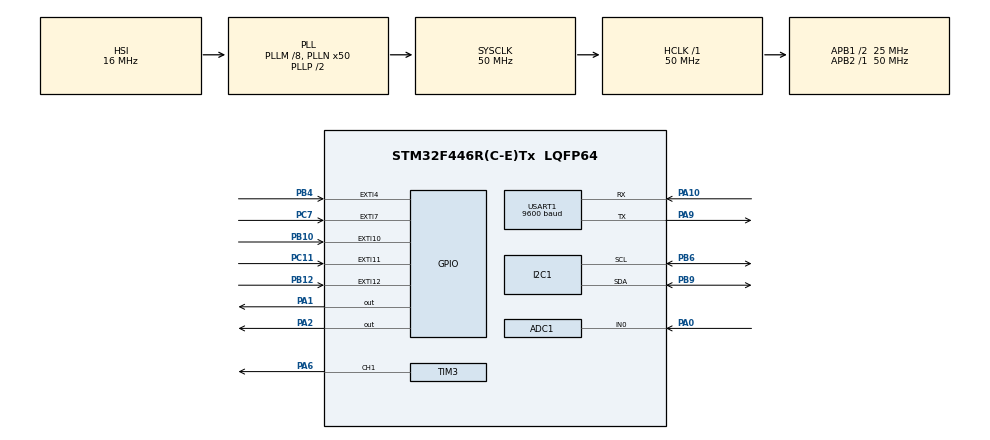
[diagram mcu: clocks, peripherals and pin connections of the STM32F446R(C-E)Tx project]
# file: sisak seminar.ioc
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ADC1.Channel-0\#ChannelRegularConversion=ADC_CHANNEL_0
ADC1.NbrOfConversionFlag=1
ADC1.Rank-0\#ChannelRegularConversion=1
ADC1.SamplingTime-0\#ChannelRegularConversion=ADC_SAMPLETIME_3CYCLES
ADC1.master=1
Mcu.Family=STM32F4
Mcu.Name=STM32F446R(C-E)Tx
Mcu.Package=LQFP64
NVIC.EXTI15_10_IRQn=true\:3\:0\:true\:false\:true\:true\:true\:true
NVIC.EXTI4_IRQn=true\:3\:0\:true\:false\:true\:true\:true\:true
NVIC.EXTI9_5_IRQn=true\:3\:0\:true\:false\:true\:true\:true\:true
NVIC.PriorityGroup=NVIC_PRIORITYGROUP_4
NVIC.TIM1_UP_TIM10_IRQn=true\:3\:0\:true\:false\:true\:true\:true\:true
PA0-WKUP.Signal=ADCx_IN0
PA1.Signal=GPIO_Output
PA10.Mode=Asynchronous
PA10.Signal=USART1_RX
PA13.Mode=Serial_Wire
PA13.Signal=SYS_JTMS-SWDIO
PA14.Mode=Serial_Wire
PA14.Signal=SYS_JTCK-SWCLK
PA2.Signal=GPIO_Output
PA6.Signal=S_TIM3_CH1
PA9.Mode=Asynchronous
PA9.Signal=USART1_TX
PB10.GPIO_ModeDefaultEXTI=GPIO_MODE_IT_FALLING
PB10.GPIO_PuPd=GPIO_PULLUP
PB10.Signal=GPXTI10
PB12.GPIO_ModeDefaultEXTI=GPIO_MODE_IT_FALLING
PB12.GPIO_PuPd=GPIO_PULLUP
PB12.Signal=GPXTI12
PB4.GPIO_ModeDefaultEXTI=GPIO_MODE_IT_FALLING
PB4.GPIO_PuPd=GPIO_PULLUP
PB4.Signal=GPXTI4
PB6.Mode=I2C
PB6.Signal=I2C1_SCL
PB9.Mode=I2C
PB9.Signal=I2C1_SDA
PC11.GPIO_ModeDefaultEXTI=GPIO_MODE_IT_FALLING
PC11.GPIO_PuPd=GPIO_PULLUP
PC11.Signal=GPXTI11
PC7.GPIO_ModeDefaultEXTI=GPIO_MODE_IT_FALLING
PC7.GPIO_PuPd=GPIO_PULLUP
PC7.Signal=GPXTI7
ProjectManager.HeapSize=0x200
ProjectManager.StackSize=0x400
ProjectManager.TargetToolchain=STM32CubeIDE
RCC.AHBFreq_Value=50000000
RCC.APB1CLKDivider=RCC_HCLK_DIV2
RCC.APB1Freq_Value=25000000
RCC.APB1TimFreq_Value=50000000
RCC.APB2Freq_Value=50000000
RCC.APB2TimFreq_Value=50000000
RCC.CortexFreq_Value=50000000
RCC.HCLKFreq_Value=50000000
RCC.PLLM=8
RCC.PLLN=50
RCC.SYSCLKFreq_VALUE=50000000
RCC.SYSCLKSource=RCC_SYSCLKSOURCE_PLLCLK
RCC.USBFreq_Value=50000000
RCC.VCOOutputFreq_Value=100000000
SH.ADCx_IN0.0=ADC1_IN0,IN0
SH.S_TIM3_CH1.0=TIM3_CH1,PWM Generation1 CH1
TIM10.Period=9
TIM10.Prescaler=15999
TIM3.Channel-PWM\ Generation1\ CH1=TIM_CHANNEL_1
TIM3.Period=999
TIM3.Prescaler=490
TIM6.Prescaler=49
USART1.BaudRate=9600
USART1.VirtualMode=VM_ASYNC
VP_TIM10_VS_ClockSourceINT.Mode=Enable_Timer
VP_TIM6_VS_ClockSourceINT.Mode=Enable_Timer
board=custom

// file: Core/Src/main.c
/* USER CODE BEGIN Header */
/**
  ******************************************************************************
  * @file           : main.c
  * @brief          : Main program body
  ******************************************************************************
  * @attention
  *
  * Copyright (c) 2025 STMicroelectronics.
  * All rights reserved.
  *
  * This software is licensed under terms that can be found in the LICENSE file
  * in the root directory of this software component.
  * If no LICENSE file comes with this software, it is provided AS-IS.
  *
  ******************************************************************************
  */
/* USER CODE END Header */
#include "main.h"
#include "adc.h"
#include "i2c.h"
#include "tim.h"
#include "usart.h"
#include "gpio.h"

/* USER CODE BEGIN Includes */
#include <stdio.h>
#include "stdio.h"

/* USER CODE END Includes */

/* USER CODE BEGIN PV */
static uint16_t global_gpio_pin = 0;
static uint16_t clear = 0;

/* USER CODE END PV */

void SystemClock_Config(void);

/* USER CODE BEGIN 0 */
uint16_t StartStop = 1;
uint16_t brzina = 0;

void delay (uint32_t us)   //Mikrosekunde
{
    __HAL_TIM_SET_COUNTER(&htim6,0);
    while ((__HAL_TIM_GET_COUNTER(&htim6))<us);
}

/*************************** LCD ***************************/
#define SLAVE_ADDRESS_LCD 0x4E

void lcd_send_cmd(char cmd)
{
    char upper_bits, lower_bits;
    uint8_t data[4];

    upper_bits = cmd & 0xF0;         // Get the upper 4 bits
    lower_bits = (cmd << 4) & 0xF0; // Shift the lower 4 bits to the upper position

    data[0] = upper_bits | 0x0C;    // Set EN=1 and RS=0
    data[1] = upper_bits | 0x08;    // Set EN=0 and RS=0
    data[2] = lower_bits | 0x0C;    // Set EN=1 and RS=0
    data[3] = lower_bits | 0x08;    // Set EN=0 and RS=0

    HAL_I2C_Master_Transmit(&hi2c1, SLAVE_ADDRESS_LCD, data, 4, 100); // Send data via I2C
}

void lcd_send_data(char data)
{
    char upper_bits, lower_bits;
    uint8_t values[4];

    upper_bits = data & 0xF0;         // Get the upper 4 bits
    lower_bits = (data << 4) & 0xF0; // Shift the lower 4 bits to the upper position

    values[0] = upper_bits | 0x0D;   // Set EN=1 and RS=1
    values[1] = upper_bits | 0x09;   // Set EN=0 and RS=1
    values[2] = lower_bits | 0x0D;   // Set EN=1 and RS=1
    values[3] = lower_bits | 0x09;   // Set EN=0 and RS=1

    HAL_I2C_Master_Transmit(&hi2c1, SLAVE_ADDRESS_LCD, values, 4, 100); // Send data via I2C
}

void lcd_clear (void)
{
	lcd_send_cmd (0x80);		// set cursor to the first position in the first line
	for (int i=0; i<70; i++)
	{
		lcd_send_data (' ');
	}
}

void lcd_put_cur(int row, int col)
{
    switch (row)
    {
        case 0:
            col |= 0x80;		// set cursor to the first position in the first line and move it for col spaces
            break;
        case 1:
            col |= 0xC0;		// set cursor to the first position in the second line and move it for col spaces
            break;
    }

    lcd_send_cmd (col);
}

void lcd_init (void)
{
	// 4 bit initialisation
	HAL_Delay(50);  // wait for >40ms
	lcd_send_cmd (0x30);
	HAL_Delay(5);  // wait for >4.1ms
	lcd_send_cmd (0x30);
	HAL_Delay(1);  // wait for >100us
	lcd_send_cmd (0x30);
	HAL_Delay(10);
	lcd_send_cmd (0x20);  // 4bit mode
	HAL_Delay(10);

  // dislay initialisation
	lcd_send_cmd (0x28); // Function set --> DL=0 (4 bit mode), N = 1 (2 line display) F = 0 (5x8 characters)
	HAL_Delay(1);
	lcd_send_cmd (0x08); //Display on/off control --> D=0,C=0, B=0  ---> display off
	HAL_Delay(1);
	lcd_send_cmd (0x01);  // clear display
	HAL_Delay(1);
	HAL_Delay(1);
	lcd_send_cmd (0x06); //Entry mode set --> I/D = 1 (increment cursor) & S = 0 (no shift)
	HAL_Delay(1);
	lcd_send_cmd (0x0C); //Display on/off control --> D = 1, C and B = 0. (Cursor and blink, last two bits)
}

void lcd_send_string (char *str)
{
	while (*str) lcd_send_data (*str++);
}

/* USER CODE END 0 */

int main(void)
{

  /* MCU Configuration--------------------------------------------------------*/

  /* Reset of all peripherals, Initializes the Flash interface and the Systick. */
  HAL_Init();

  /* Configure the system clock */
  SystemClock_Config();

  /* Initialize all configured peripherals */
  MX_GPIO_Init();
  MX_ADC1_Init();
  MX_I2C1_Init();
  MX_TIM6_Init();
  MX_USART1_UART_Init();
  MX_TIM10_Init();
  MX_TIM3_Init();
  /* USER CODE BEGIN 2 */
  HAL_TIM_Base_Start(&htim6);

  lcd_init();
  lcd_send_string("INITIALISING");
  HAL_Delay(2000);
  lcd_clear();

  /* USER CODE END 2 */

  /* Infinite loop */
  /* USER CODE BEGIN WHILE */
  uint16_t rawValue;                // Varijabla za pohranu sirove ADC vrijednosti (0–4095)
  uint8_t  Speed;                   // Varijabla za brzinu izraženu u postocima (0–100)

  while (1)                         // Beskonačna petlja – glavni program se izvršava ovdje
  {
      if(StartStop % 2 != 0)        // Ako je StartStop neparan broj (motor uključen)
      {
          clear = 1;                // Postavi zastavicu za kasnije čišćenje LCD-a

          char str[20] = {0};       // Inicijalizacija stringa za prikaz na LCD-u

          switch(brzina)            // Provjera odabrane brzine
          {
              case 0:
                  HAL_TIM_PWM_Start(&htim3, TIM_CHANNEL_1);          // Pokreni PWM na TIM3, kanal 1
                  __HAL_TIM_SET_COMPARE(&htim3, TIM_CHANNEL_1, 0);   // Postavi PWM ispunu na 0%
                  lcd_put_cur(0,0);                                   // Postavi kursor u prvi red LCD-a
                  sprintf(str, "Speed set 0 ");                       // Formatiraj string
                  lcd_send_string(str);                               // Prikaz stringa na LCD
                  lcd_send_data('%');                                 // Dodaj znak za postotak
                  lcd_put_cur(1,0);                                   // Prijeđi u drugi red
                  break;

              case 25:
                  HAL_TIM_PWM_Start(&htim3, TIM_CHANNEL_1);          // Pokreni PWM
                  __HAL_TIM_SET_COMPARE(&htim3, TIM_CHANNEL_1, 250); // Postavi PWM ispunu na 25%
                  lcd_put_cur(0,0);
                  sprintf(str, "Speed set 25 ");
                  lcd_send_string(str);
                  lcd_send_data('%');
                  lcd_put_cur(1,0);
                  break;

              case 50:
                  HAL_TIM_PWM_Start(&htim3, TIM_CHANNEL_1);          // Pokreni PWM
                  __HAL_TIM_SET_COMPARE(&htim3, TIM_CHANNEL_1, 500); // Postavi PWM ispunu na 50%
                  lcd_put_cur(0,0);
                  sprintf(str, "Speed set 50 ");
                  lcd_send_string(str);
                  lcd_send_data('%');
                  lcd_put_cur(1,0);
                  break;

              case 100:
                  HAL_TIM_PWM_Start(&htim3, TIM_CHANNEL_1);          // Pokreni PWM
                  __HAL_TIM_SET_COMPARE(&htim3, TIM_CHANNEL_1, 1000);// Postavi PWM ispunu na 100%
                  lcd_put_cur(0,0);
                  sprintf(str, "Speed set 100 ");
                  lcd_send_string(str);
                  lcd_send_data('%');
                  lcd_put_cur(1,0);
                  break;
          }
      }
      else
      {
          if(clear == 1)            // LCD čistiš samo jednom pri promjeni načina rada
          {
              char str[20] = {0};   // Privremeni string za brisanje LCD-a
              lcd_put_cur(0,0);     // Prvi red
              sprintf(str, "                ");  // 16 praznih znakova
              lcd_send_string(str);             // Briši prvi red
              lcd_put_cur(1,0);     // Drugi red
              sprintf(str, "                ");  // Isto za drugi red
              lcd_send_string(str);             // Briši drugi red
              clear = 0;            // Resetiraj zastavicu da se ne briše opet
          }

          brzina = 0;               // Postavi brzinu na 0 – ne koristi se više unaprijed definirana brzina

          char str[20] = {0};       // Buffer za prikaz dinamičke brzine
          lcd_put_cur(0,0);         // Prvi red

          HAL_ADC_Start(&hadc1);                                 // Pokreni ADC konverziju
          HAL_ADC_PollForConversion(&hadc1, HAL_MAX_DELAY);      // Pričekaj dok se ne završi konverzija
          rawValue = HAL_ADC_GetValue(&hadc1);                   // Učitaj sirovu ADC vrijednost
          Speed = (rawValue * 100) / 4095;                       // Pretvori u postotke (0–100%)

          lcd_put_cur(0,0);          // Prvi red
          sprintf(str, "Speed: %d ", Speed); // Formatiraj prikaz brzine
          lcd_send_string(str);      // Pošalji string na LCD
          lcd_send_data('%');        // Dodaj znak za postotak

          HAL_TIM_PWM_Start(&htim3, TIM_CHANNEL_1);              // Pokreni PWM izlaz
          __HAL_TIM_SET_COMPARE(&htim3, TIM_CHANNEL_1, Speed*10);// Postavi PWM proporcionalno brzini
      }
    /* USER CODE END WHILE */

  }
}

void SystemClock_Config(void)
{
  RCC_OscInitTypeDef RCC_OscInitStruct = {0};
  RCC_ClkInitTypeDef RCC_ClkInitStruct = {0};

  /** Configure the main internal regulator output voltage
  */
  __HAL_RCC_PWR_CLK_ENABLE();
  __HAL_PWR_VOLTAGESCALING_CONFIG(PWR_REGULATOR_VOLTAGE_SCALE3);

  /** Initializes the RCC Oscillators according to the specified parameters
  * in the RCC_OscInitTypeDef structure.
  */
  RCC_OscInitStruct.OscillatorType = RCC_OSCILLATORTYPE_HSI;
  RCC_OscInitStruct.HSIState = RCC_HSI_ON;
  RCC_OscInitStruct.HSICalibrationValue = RCC_HSICALIBRATION_DEFAULT;
  RCC_OscInitStruct.PLL.PLLState = RCC_PLL_ON;
  RCC_OscInitStruct.PLL.PLLSource = RCC_PLLSOURCE_HSI;
  RCC_OscInitStruct.PLL.PLLM = 8;
  RCC_OscInitStruct.PLL.PLLN = 50;
  RCC_OscInitStruct.PLL.PLLP = RCC_PLLP_DIV2;
  RCC_OscInitStruct.PLL.PLLQ = 2;
  RCC_OscInitStruct.PLL.PLLR = 2;
  if (HAL_RCC_OscConfig(&RCC_OscInitStruct) != HAL_OK)
  {
    Error_Handler();
  }

  /** Initializes the CPU, AHB and APB buses clocks
  */
  RCC_ClkInitStruct.ClockType = RCC_CLOCKTYPE_HCLK|RCC_CLOCKTYPE_SYSCLK
                              |RCC_CLOCKTYPE_PCLK1|RCC_CLOCKTYPE_PCLK2;
  RCC_ClkInitStruct.SYSCLKSource = RCC_SYSCLKSOURCE_PLLCLK;
  RCC_ClkInitStruct.AHBCLKDivider = RCC_SYSCLK_DIV1;
  RCC_ClkInitStruct.APB1CLKDivider = RCC_HCLK_DIV2;
  RCC_ClkInitStruct.APB2CLKDivider = RCC_HCLK_DIV1;

  if (HAL_RCC_ClockConfig(&RCC_ClkInitStruct, FLASH_LATENCY_1) != HAL_OK)
  {
    Error_Handler();
  }
}

/* USER CODE BEGIN 4 */
void HAL_GPIO_EXTI_Callback(uint16_t GPIO_Pin) {
    global_gpio_pin = GPIO_Pin;  // Pohranjujemo broj pina koji je izazvao prekid

    if(global_gpio_pin == GPIO_PIN_11) {  // Ako je prekid generiran na pinu 11
        __HAL_TIM_CLEAR_IT(&htim10, TIM_IT_UPDATE);  // Resetiramo zastavicu prekida tajmera 10
        HAL_TIM_Base_Start_IT(&htim10);  // Pokrećemo tajmer 10 u režimu prekida
    }
    else if(global_gpio_pin == GPIO_PIN_10) {  // Ako je prekid generiran na pinu 10
        __HAL_TIM_CLEAR_IT(&htim10, TIM_IT_UPDATE);  // Resetiramo zastavicu prekida tajmera 10
        HAL_TIM_Base_Start_IT(&htim10);  // Pokrećemo tajmer 10 u režimu prekida
    }
    else if(global_gpio_pin == GPIO_PIN_7) {  // Ako je prekid generiran na pinu 7
        __HAL_TIM_CLEAR_IT(&htim10, TIM_IT_UPDATE);  // Resetiramo zastavicu prekida tajmera 10
        HAL_TIM_Base_Start_IT(&htim10);  // Pokrećemo tajmer 10 u režimu prekida
    }

    else if(global_gpio_pin == GPIO_PIN_4) {  // Ako je prekid generiran na pinu 4
        __HAL_TIM_CLEAR_IT(&htim10, TIM_IT_UPDATE);  // Resetiramo zastavicu prekida tajmera 10
        HAL_TIM_Base_Start_IT(&htim10);  // Pokrećemo tajmer 10 u režimu prekida
    }
}

// Callback funkcija koja se poziva kada tajmer generira prekid (kada istekne zadano vrijeme)
void HAL_TIM_PeriodElapsedCallback(TIM_HandleTypeDef *htim) {
    if (htim->Instance == TIM10) {  // Provjeravamo je li prekid generirao tajmer 10
        if (HAL_GPIO_ReadPin(GPIOC, global_gpio_pin) == GPIO_PIN_RESET) {  // Provjera je li pritisnut gumb (logička nula)
            if (global_gpio_pin == GPIO_PIN_11) {  // Ako je gumb na pinu 4
                StartStop++;  // Povećavamo varijablu Menu
            }

            if (StartStop % 2 != 0) {  // Ako je StartStop neparan broj (uključivanje neke opcije)
                if (global_gpio_pin == GPIO_PIN_10) {
                    brzina = 25;  // Povećavamo vrijednost varijable brzina
                }
                else if (global_gpio_pin == GPIO_PIN_7) {
                	brzina = 50;  // Smanjujemo vrijednost varijable brzina
                }
                else if (global_gpio_pin == GPIO_PIN_4) {
                    brzina = 100;  // Smanjujemo vrijednost varijable brzina
                                }
            }
        }
        HAL_TIM_Base_Stop_IT(&htim10);  // Zaustavljamo tajmer nakon što je obrada prekida završena
    }
}
/* USER CODE END 4 */

void Error_Handler(void)
{
  __disable_irq();
  while (1)
  {
  }
}
